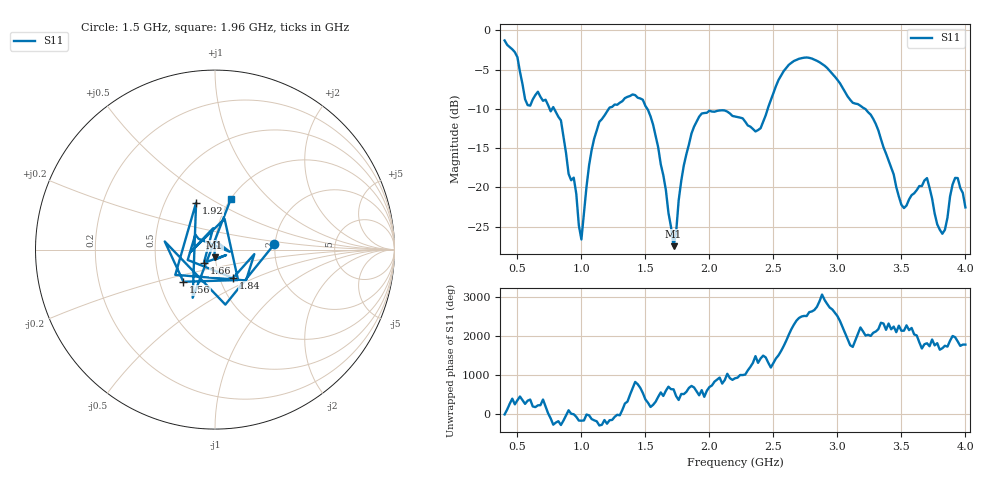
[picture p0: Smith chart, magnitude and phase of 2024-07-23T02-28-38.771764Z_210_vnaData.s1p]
!Created with skrf (http://scikit-rf.org).
# Hz S RI R 50.0
!freq ReS11 ImS11
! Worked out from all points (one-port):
!   181 points, 400 MHz to 4 GHz, reference 50 ohm
!   lowest |S11| = -27.5 dB at 1.72 GHz (marker M1), VSWR 1.09, Z = 49.5 - j4.18 ohm
!   |S11| at or under -10 dB: 787.7 MHz to 1.213 GHz (425.5 MHz wide, 42.5 % of centre); 1.515 GHz to 2.455 GHz (940.2 MHz wide, 47.4 % of centre); 3.217 GHz to end of sweep (the widest 3 of 4)
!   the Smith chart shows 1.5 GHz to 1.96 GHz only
!   S11 on the Smith chart (normalised r, x): 1.5 GHz: 1.98, +0.13; 1.56 GHz: 0.66, -0.25; 1.66 GHz: 0.87, -0.13; 1.84 GHz: 1.16, -0.38; 1.92 GHz: 0.71, +0.41; 1.96 GHz: 1.00, +0.62
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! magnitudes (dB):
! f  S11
! 400 MHz  -1.3
! 500 MHz  -3.4
! 580 MHz  -9.5
! 660 MHz  -7.8
! 860 MHz  -13.6
! 940 MHz  -18.8
! 1 GHz  -26.6
! 1.1 GHz  -13.8
! 1.3 GHz  -9.2
! 1.5 GHz  -9.6
! 1.56 GHz  -12.0
! 1.66 GHz  -20.4
! 1.72 GHz  -27.5
! 1.76 GHz  -21.6
! 1.84 GHz  -14.5
! 1.92 GHz  -11.0
! 1.96 GHz  -10.5
! 2.2 GHz  -11.0
! 2.4 GHz  -12.5
! 2.66 GHz  -3.9
! 3.1 GHz  -8.8
! 3.28 GHz  -11.3
! 3.5 GHz  -22.2
! 3.56 GHz  -21.5
! 3.7 GHz  -18.8
! 3.82 GHz  -25.9
! 3.92 GHz  -18.8
! 4 GHz  -22.6
